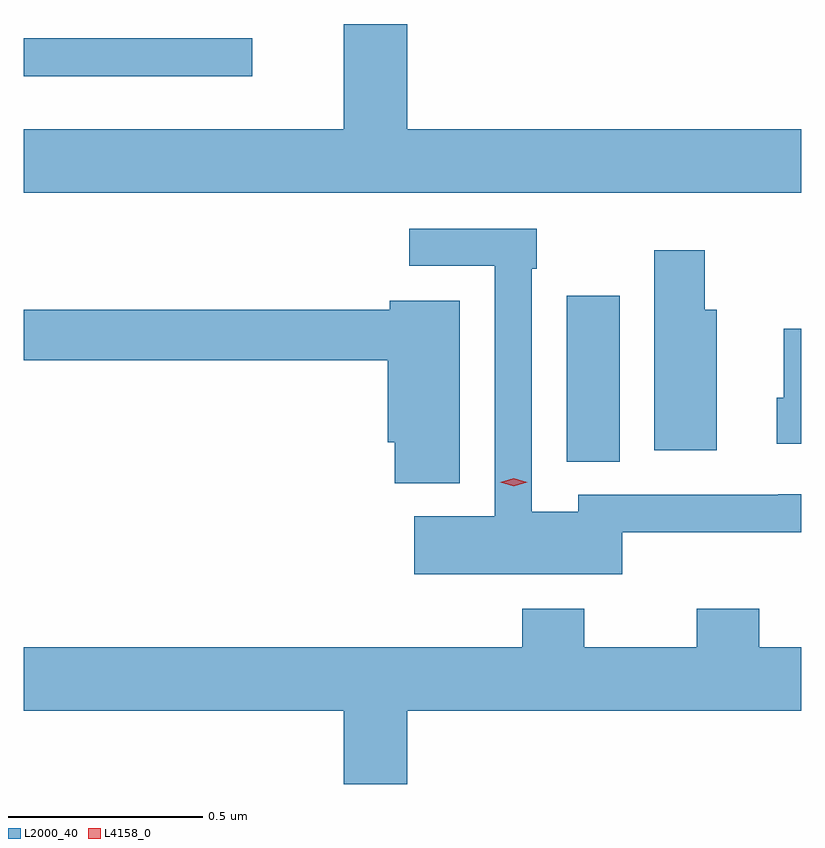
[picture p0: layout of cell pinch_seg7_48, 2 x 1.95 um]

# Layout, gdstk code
import gdstk
lib = gdstk.Library(unit=1e-6, precision=1e-09)
def R(c, l, rs):  # rectangles x0, y0, x1, y1
    for r in rs: c.add(gdstk.rectangle(r[:2], r[2:], *l))
def P(c, l, *ps):  # polygons
    for p in ps: c.add(gdstk.Polygon(p, *l))
L2000_40 = (2000, 40)
L4158_0 = (4158, 0)

pinch_seg7_48 = lib.new_cell('pinch_seg7_48')
R(pinch_seg7_48, L2000_40, [(884.861,1051.873,884.998,1052.299), (883.465,1052.864,884.053,1052.961)])
P(pinch_seg7_48, L2000_40, [(885.465,1052.728),(884.452,1052.728),(884.452,1052.998),(884.288,1052.998),(884.288,1052.728),(883.465,1052.728),(883.465,1052.564),(885.465,1052.564)],
  [(885.004,1051.691),(885.465,1051.691),(885.465,1051.789),(885.405,1051.789),(885.405,1051.788),(884.891,1051.788),(884.891,1051.744),(884.772,1051.744),(884.772,1052.369),(884.785,1052.369),(884.785,1052.472),(884.457,1052.472),(884.457,1052.376),(884.676,1052.376),(884.676,1051.732),(884.469,1051.732),(884.469,1051.583),(885.004,1051.583)],
  [(885.247,1052.263),(885.216,1052.263),(885.216,1052.416),(885.086,1052.416),(885.086,1051.902),(885.247,1051.902)],
  [(884.587,1052.287),(884.406,1052.287),(884.406,1052.263),(883.465,1052.263),(883.465,1052.134),(884.402,1052.134),(884.402,1051.923),(884.42,1051.923),(884.42,1051.817),(884.587,1051.817)],
  [(885.465,1052.215),(885.419,1052.215),(885.419,1052.037),(885.401,1052.037),(885.401,1051.919),(885.465,1051.919)],
  [(884.452,1051.232),(885.465,1051.232),(885.465,1051.396),(885.356,1051.396),(885.356,1051.495),(885.196,1051.495),(885.196,1051.396),(884.907,1051.396),(884.907,1051.495),(884.747,1051.495),(884.747,1051.396),(883.465,1051.396),(883.465,1051.232),(884.288,1051.232),(884.288,1051.044),(884.452,1051.044)])
P(pinch_seg7_48, L4158_0, [(884.725,1051.81),(884.69,1051.82),(884.69,1051.82),(884.69,1051.82),(884.725,1051.83),(884.76,1051.82),(884.76,1051.82),(884.76,1051.82)])

lib.write_gds('pinch_seg7_48.gds')
